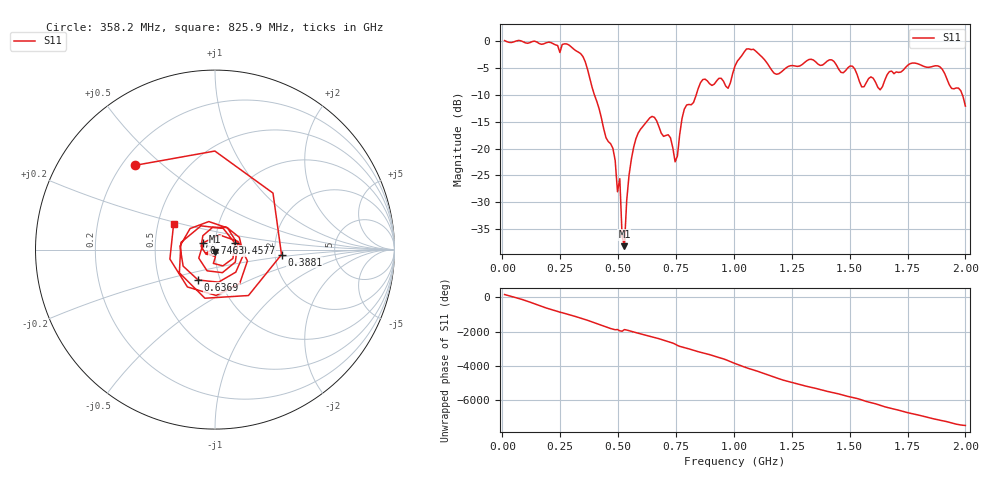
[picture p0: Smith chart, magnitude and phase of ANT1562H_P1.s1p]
!Created with skrf (http://scikit-rf.org).
# Hz S RI R 50.0
!freq ReS11 ImS11
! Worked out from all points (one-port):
!   201 points, 10 MHz to 2 GHz, reference 50 ohm
!   lowest |S11| = -38.2 dB at 527.4 MHz (marker M1), VSWR 1.02, Z = 50 - j1.23 ohm
!   |S11| at or under -10 dB: 398.1 MHz to 837.2 MHz (439 MHz wide, 71.1 % of centre); 1.987 GHz to end of sweep
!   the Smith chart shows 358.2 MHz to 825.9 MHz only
!   S11 on the Smith chart (normalised r, x): 358.2 MHz: 0.25, +0.41; 388.1 MHz: 2.17, -0.14; 457.8 MHz: 1.25, +0.09; 636.9 MHz: 0.78, -0.28; 746.3 MHz: 0.88, +0.07; 825.9 MHz: 0.60, +0.18
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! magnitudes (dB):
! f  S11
! 10 MHz  0.2
! 258.8 MHz  -0.6
! 358.2 MHz  -3.8
! 388.1 MHz  -8.6
! 457.8 MHz  -18.7
! 487.6 MHz  -22.2
! 497.6 MHz  -28.0
! 507.5 MHz  -25.6
! 517.5 MHz  -36.3
! 527.4 MHz  -38.2
! 547.3 MHz  -25.0
! 567.2 MHz  -19.8
! 636.9 MHz  -14.3
! 726.4 MHz  -18.0
! 746.3 MHz  -22.4
! 756.2 MHz  -21.4
! 786.1 MHz  -12.6
! 825.9 MHz  -11.4
! 865.7 MHz  -7.1
! 975.1 MHz  -8.7
! 1.005 GHz  -4.6
! 1.065 GHz  -1.4
! 1.254 GHz  -4.5
! 1.502 GHz  -4.6
! 1.632 GHz  -9.0
! 1.751 GHz  -4.4
! 1.891 GHz  -4.7
! 2 GHz  -12.1
